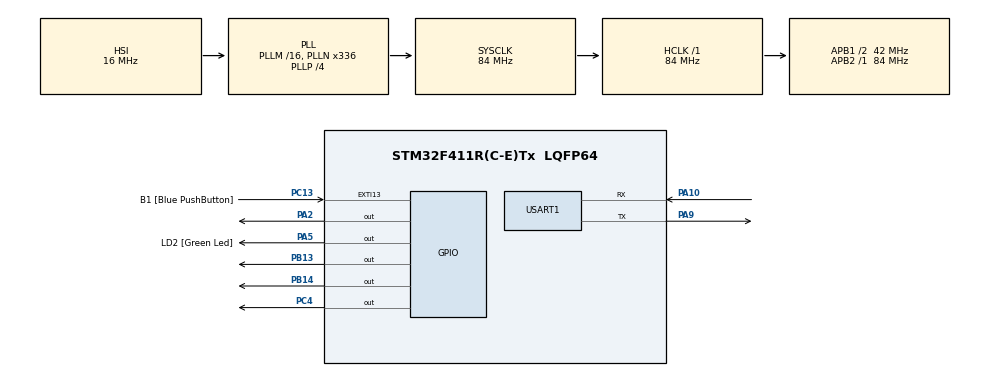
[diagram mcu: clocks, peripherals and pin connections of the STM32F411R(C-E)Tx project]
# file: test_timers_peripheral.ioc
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Mcu.Family=STM32F4
Mcu.Name=STM32F411R(C-E)Tx
Mcu.Package=LQFP64
NVIC.PriorityGroup=NVIC_PRIORITYGROUP_0
NVIC.TIM2_IRQn=true\:0\:0\:false\:false\:true\:true\:true\:true
NVIC.TIM3_IRQn=true\:0\:0\:false\:false\:true\:true\:true\:true
NVIC.TIM4_IRQn=true\:0\:0\:false\:false\:true\:true\:true\:true
PA10.Mode=Asynchronous
PA10.Signal=USART1_RX
PA13.GPIO_Label=TMS
PA13.Mode=Serial_Wire
PA13.Signal=SYS_JTMS-SWDIO
PA14.GPIO_Label=TCK
PA14.Mode=Serial_Wire
PA14.Signal=SYS_JTCK-SWCLK
PA2.Signal=GPIO_Output
PA3.GPIO_Label=USART_RX
PA3.Signal=USART2_RX
PA5.GPIO_Label=LD2 [Green Led]
PA5.Signal=GPIO_Output
PA9.Mode=Asynchronous
PA9.Signal=USART1_TX
PB13.Signal=GPIO_Output
PB14.Signal=GPIO_Output
PB3.GPIO_Label=SWO
PB3.Signal=SYS_JTDO-SWO
PC13-ANTI_TAMP.GPIO_Label=B1 [Blue PushButton]
PC13-ANTI_TAMP.GPIO_ModeDefaultEXTI=GPIO_MODE_IT_FALLING
PC13-ANTI_TAMP.Signal=GPXTI13
PC14-OSC32_IN.Mode=LSE-External-Oscillator
PC14-OSC32_IN.Signal=RCC_OSC32_IN
PC15-OSC32_OUT.Mode=LSE-External-Oscillator
PC15-OSC32_OUT.Signal=RCC_OSC32_OUT
PC4.Signal=GPIO_Output
PH0\ -\ OSC_IN.Mode=HSE-External-Clock-Source
PH0\ -\ OSC_IN.Signal=RCC_OSC_IN
PH1\ -\ OSC_OUT.Mode=HSE-External-Clock-Source
PH1\ -\ OSC_OUT.Signal=RCC_OSC_OUT
ProjectManager.HeapSize=0x200
ProjectManager.StackSize=0x400
ProjectManager.TargetToolchain=STM32CubeIDE
RCC.48MHZClocksFreq_Value=84000000
RCC.AHBFreq_Value=84000000
RCC.APB1CLKDivider=RCC_HCLK_DIV2
RCC.APB1Freq_Value=42000000
RCC.APB1TimFreq_Value=84000000
RCC.APB2Freq_Value=84000000
RCC.APB2TimFreq_Value=84000000
RCC.CortexFreq_Value=84000000
RCC.FLatency-AdvancedSettings=FLASH_LATENCY_2
RCC.HCLKFreq_Value=84000000
RCC.HSE_VALUE=8000000
RCC.HSI_VALUE=16000000
RCC.PLLN=336
RCC.PLLP=RCC_PLLP_DIV4
RCC.SYSCLKFreq_VALUE=84000000
RCC.SYSCLKSource=RCC_SYSCLKSOURCE_PLLCLK
RCC.VCOOutputFreq_Value=336000000
TIM2.Period=1999998
TIM2.Prescaler=84 -1
TIM3.Period=3999
TIM3.Prescaler=41999
TIM4.Period=5999
TIM4.Prescaler=41999
USART1.VirtualMode=VM_ASYNC
VP_TIM2_VS_ClockSourceINT.Mode=Internal
VP_TIM3_VS_ClockSourceINT.Mode=Internal
VP_TIM4_VS_ClockSourceINT.Mode=Internal
board=NUCLEO-F411RE

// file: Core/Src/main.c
/* USER CODE BEGIN Header */
/**
  ******************************************************************************
  * @file           : main.c
  * @brief          : Main program body
  ******************************************************************************
  * @attention
  *
  * Copyright (c) 2025 STMicroelectronics.
  * All rights reserved.
  *
  * This software is licensed under terms that can be found in the LICENSE file
  * in the root directory of this software component.
  * If no LICENSE file comes with this software, it is provided AS-IS.
  *
  ******************************************************************************
  */
/* USER CODE END Header */
#include "main.h"

/* USER CODE BEGIN Includes */
#include <stdio.h>
/* USER CODE END Includes */

TIM_HandleTypeDef htim2;
TIM_HandleTypeDef htim3;
TIM_HandleTypeDef htim4;

UART_HandleTypeDef huart1;

void SystemClock_Config(void);
static void MX_GPIO_Init(void);
static void MX_TIM2_Init(void);
static void MX_USART1_UART_Init(void);
static void MX_TIM3_Init(void);
static void MX_TIM4_Init(void);

/* USER CODE BEGIN 0 */
int __io_putchar(int ch)
{
	HAL_UART_Transmit(&huart1, (uint8_t*)&ch, 1, 10);
	return ch;
}
/* USER CODE END 0 */

int main(void)
{

  /* MCU Configuration--------------------------------------------------------*/

  /* Reset of all peripherals, Initializes the Flash interface and the Systick. */
  HAL_Init();

  /* Configure the system clock */
  SystemClock_Config();

  /* Initialize all configured peripherals */
  MX_GPIO_Init();
  MX_TIM2_Init();
  MX_USART1_UART_Init();
  MX_TIM3_Init();
  MX_TIM4_Init();
  /* USER CODE BEGIN 2 */
  printf("Program starting ... \r\n");
  HAL_TIM_Base_Start_IT(&htim2); // start TIM2 in interrupt mode
  HAL_TIM_Base_Start_IT(&htim3); // start TIM3 in interrupt mode
  HAL_TIM_Base_Start_IT(&htim4); // start TIM4 in interrupt mode

  /* USER CODE END 2 */

  /* Infinite loop */
  while (1)
  {

    /* USER CODE BEGIN 3 */
	HAL_GPIO_TogglePin(GPIOA, GPIO_PIN_5); // the built in led to ensure that the program is running
	HAL_Delay(500);
  }
  /* USER CODE END 3 */
}

void SystemClock_Config(void)
{
  RCC_OscInitTypeDef RCC_OscInitStruct = {0};
  RCC_ClkInitTypeDef RCC_ClkInitStruct = {0};

  /** Configure the main internal regulator output voltage
  */
  __HAL_RCC_PWR_CLK_ENABLE();
  __HAL_PWR_VOLTAGESCALING_CONFIG(PWR_REGULATOR_VOLTAGE_SCALE1);

  /** Initializes the RCC Oscillators according to the specified parameters
  * in the RCC_OscInitTypeDef structure.
  */
  RCC_OscInitStruct.OscillatorType = RCC_OSCILLATORTYPE_HSI;
  RCC_OscInitStruct.HSIState = RCC_HSI_ON;
  RCC_OscInitStruct.HSICalibrationValue = RCC_HSICALIBRATION_DEFAULT;
  RCC_OscInitStruct.PLL.PLLState = RCC_PLL_ON;
  RCC_OscInitStruct.PLL.PLLSource = RCC_PLLSOURCE_HSI;
  RCC_OscInitStruct.PLL.PLLM = 16;
  RCC_OscInitStruct.PLL.PLLN = 336;
  RCC_OscInitStruct.PLL.PLLP = RCC_PLLP_DIV4;
  RCC_OscInitStruct.PLL.PLLQ = 4;
  if (HAL_RCC_OscConfig(&RCC_OscInitStruct) != HAL_OK)
  {
    Error_Handler();
  }

  /** Initializes the CPU, AHB and APB buses clocks
  */
  RCC_ClkInitStruct.ClockType = RCC_CLOCKTYPE_HCLK|RCC_CLOCKTYPE_SYSCLK
                              |RCC_CLOCKTYPE_PCLK1|RCC_CLOCKTYPE_PCLK2;
  RCC_ClkInitStruct.SYSCLKSource = RCC_SYSCLKSOURCE_PLLCLK;
  RCC_ClkInitStruct.AHBCLKDivider = RCC_SYSCLK_DIV1;
  RCC_ClkInitStruct.APB1CLKDivider = RCC_HCLK_DIV2;
  RCC_ClkInitStruct.APB2CLKDivider = RCC_HCLK_DIV1;

  if (HAL_RCC_ClockConfig(&RCC_ClkInitStruct, FLASH_LATENCY_2) != HAL_OK)
  {
    Error_Handler();
  }
}

static void MX_TIM2_Init(void)
{

  TIM_ClockConfigTypeDef sClockSourceConfig = {0};
  TIM_MasterConfigTypeDef sMasterConfig = {0};

  htim2.Instance = TIM2;
  htim2.Init.Prescaler = 84 -1;
  htim2.Init.CounterMode = TIM_COUNTERMODE_UP;
  htim2.Init.Period = 999999;
  htim2.Init.ClockDivision = TIM_CLOCKDIVISION_DIV1;
  htim2.Init.AutoReloadPreload = TIM_AUTORELOAD_PRELOAD_DISABLE;
  if (HAL_TIM_Base_Init(&htim2) != HAL_OK)
  {
    Error_Handler();
  }
  sClockSourceConfig.ClockSource = TIM_CLOCKSOURCE_INTERNAL;
  if (HAL_TIM_ConfigClockSource(&htim2, &sClockSourceConfig) != HAL_OK)
  {
    Error_Handler();
  }
  sMasterConfig.MasterOutputTrigger = TIM_TRGO_RESET;
  sMasterConfig.MasterSlaveMode = TIM_MASTERSLAVEMODE_DISABLE;
  if (HAL_TIMEx_MasterConfigSynchronization(&htim2, &sMasterConfig) != HAL_OK)
  {
    Error_Handler();
  }

}

static void MX_TIM3_Init(void)
{

  TIM_ClockConfigTypeDef sClockSourceConfig = {0};
  TIM_MasterConfigTypeDef sMasterConfig = {0};

  htim3.Instance = TIM3;
  htim3.Init.Prescaler = 41999;
  htim3.Init.CounterMode = TIM_COUNTERMODE_UP;
  htim3.Init.Period = 3999;
  htim3.Init.ClockDivision = TIM_CLOCKDIVISION_DIV1;
  htim3.Init.AutoReloadPreload = TIM_AUTORELOAD_PRELOAD_DISABLE;
  if (HAL_TIM_Base_Init(&htim3) != HAL_OK)
  {
    Error_Handler();
  }
  sClockSourceConfig.ClockSource = TIM_CLOCKSOURCE_INTERNAL;
  if (HAL_TIM_ConfigClockSource(&htim3, &sClockSourceConfig) != HAL_OK)
  {
    Error_Handler();
  }
  sMasterConfig.MasterOutputTrigger = TIM_TRGO_RESET;
  sMasterConfig.MasterSlaveMode = TIM_MASTERSLAVEMODE_DISABLE;
  if (HAL_TIMEx_MasterConfigSynchronization(&htim3, &sMasterConfig) != HAL_OK)
  {
    Error_Handler();
  }

}

static void MX_TIM4_Init(void)
{

  TIM_ClockConfigTypeDef sClockSourceConfig = {0};
  TIM_MasterConfigTypeDef sMasterConfig = {0};

  htim4.Instance = TIM4;
  htim4.Init.Prescaler = 41999;
  htim4.Init.CounterMode = TIM_COUNTERMODE_UP;
  htim4.Init.Period = 5999;
  htim4.Init.ClockDivision = TIM_CLOCKDIVISION_DIV1;
  htim4.Init.AutoReloadPreload = TIM_AUTORELOAD_PRELOAD_DISABLE;
  if (HAL_TIM_Base_Init(&htim4) != HAL_OK)
  {
    Error_Handler();
  }
  sClockSourceConfig.ClockSource = TIM_CLOCKSOURCE_INTERNAL;
  if (HAL_TIM_ConfigClockSource(&htim4, &sClockSourceConfig) != HAL_OK)
  {
    Error_Handler();
  }
  sMasterConfig.MasterOutputTrigger = TIM_TRGO_RESET;
  sMasterConfig.MasterSlaveMode = TIM_MASTERSLAVEMODE_DISABLE;
  if (HAL_TIMEx_MasterConfigSynchronization(&htim4, &sMasterConfig) != HAL_OK)
  {
    Error_Handler();
  }

}

static void MX_USART1_UART_Init(void)
{

  huart1.Instance = USART1;
  huart1.Init.BaudRate = 115200;
  huart1.Init.WordLength = UART_WORDLENGTH_8B;
  huart1.Init.StopBits = UART_STOPBITS_1;
  huart1.Init.Parity = UART_PARITY_NONE;
  huart1.Init.Mode = UART_MODE_TX_RX;
  huart1.Init.HwFlowCtl = UART_HWCONTROL_NONE;
  huart1.Init.OverSampling = UART_OVERSAMPLING_16;
  if (HAL_UART_Init(&huart1) != HAL_OK)
  {
    Error_Handler();
  }

}

static void MX_GPIO_Init(void)
{
  GPIO_InitTypeDef GPIO_InitStruct = {0};

  /* GPIO Ports Clock Enable */
  __HAL_RCC_GPIOC_CLK_ENABLE();
  __HAL_RCC_GPIOH_CLK_ENABLE();
  __HAL_RCC_GPIOA_CLK_ENABLE();
  __HAL_RCC_GPIOB_CLK_ENABLE();

  /*Configure GPIO pin Output Level */
  HAL_GPIO_WritePin(GPIOA, GPIO_PIN_2|LD2_Pin, GPIO_PIN_RESET);

  /*Configure GPIO pin Output Level */
  HAL_GPIO_WritePin(GPIOC, GPIO_PIN_4, GPIO_PIN_RESET);

  /*Configure GPIO pin Output Level */
  HAL_GPIO_WritePin(GPIOB, GPIO_PIN_13|GPIO_PIN_14, GPIO_PIN_RESET);

  /*Configure GPIO pin : B1_Pin */
  GPIO_InitStruct.Pin = B1_Pin;
  GPIO_InitStruct.Mode = GPIO_MODE_IT_FALLING;
  GPIO_InitStruct.Pull = GPIO_NOPULL;
  HAL_GPIO_Init(B1_GPIO_Port, &GPIO_InitStruct);

  /*Configure GPIO pins : PA2 LD2_Pin */
  GPIO_InitStruct.Pin = GPIO_PIN_2|LD2_Pin;
  GPIO_InitStruct.Mode = GPIO_MODE_OUTPUT_PP;
  GPIO_InitStruct.Pull = GPIO_NOPULL;
  GPIO_InitStruct.Speed = GPIO_SPEED_FREQ_LOW;
  HAL_GPIO_Init(GPIOA, &GPIO_InitStruct);

  /*Configure GPIO pin : USART_RX_Pin */
  GPIO_InitStruct.Pin = USART_RX_Pin;
  GPIO_InitStruct.Mode = GPIO_MODE_AF_PP;
  GPIO_InitStruct.Pull = GPIO_NOPULL;
  GPIO_InitStruct.Speed = GPIO_SPEED_FREQ_VERY_HIGH;
  GPIO_InitStruct.Alternate = GPIO_AF7_USART2;
  HAL_GPIO_Init(USART_RX_GPIO_Port, &GPIO_InitStruct);

  /*Configure GPIO pin : PC4 */
  GPIO_InitStruct.Pin = GPIO_PIN_4;
  GPIO_InitStruct.Mode = GPIO_MODE_OUTPUT_PP;
  GPIO_InitStruct.Pull = GPIO_NOPULL;
  GPIO_InitStruct.Speed = GPIO_SPEED_FREQ_LOW;
  HAL_GPIO_Init(GPIOC, &GPIO_InitStruct);

  /*Configure GPIO pins : PB13 PB14 */
  GPIO_InitStruct.Pin = GPIO_PIN_13|GPIO_PIN_14;
  GPIO_InitStruct.Mode = GPIO_MODE_OUTPUT_PP;
  GPIO_InitStruct.Pull = GPIO_NOPULL;
  GPIO_InitStruct.Speed = GPIO_SPEED_FREQ_LOW;
  HAL_GPIO_Init(GPIOB, &GPIO_InitStruct);

}

/* USER CODE BEGIN 4 */
void HAL_TIM_PeriodElapsedCallback(TIM_HandleTypeDef *htim)
{
	if(htim == &htim4)
    {
    	printf("timer interrupt 4 triggered \r\n");
		HAL_GPIO_TogglePin(GPIOB, GPIO_PIN_14);
    }
	else if(htim == &htim3) {
    	printf("Timer interrupt 3 triggered \r\n");
    	HAL_GPIO_TogglePin(GPIOB, GPIO_PIN_13);
    }
	else if (htim == &htim2)
    {
    	printf("Timer interrupt 2 triggered \r\n");
		HAL_GPIO_TogglePin(GPIOC, GPIO_PIN_4); //external led
    }
}

/* USER CODE END 4 */

void Error_Handler(void)
{
  __disable_irq();
  while (1)
  {
  }
}
